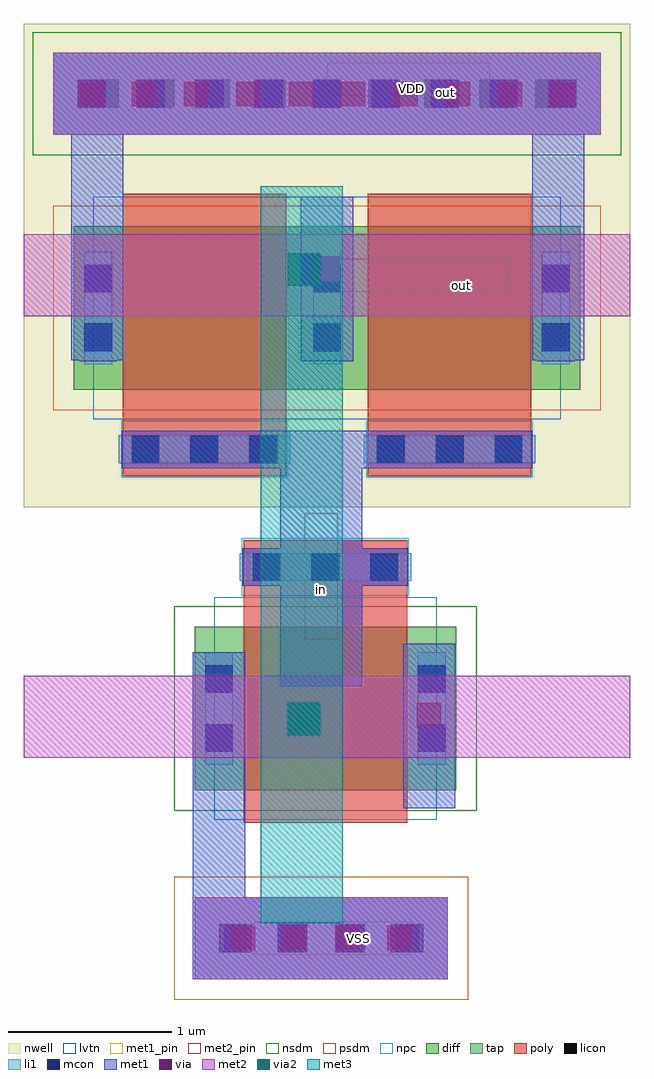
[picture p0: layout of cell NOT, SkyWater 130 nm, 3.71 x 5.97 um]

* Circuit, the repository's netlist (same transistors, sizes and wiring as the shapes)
** sch_path: /foss/designs/BGR_TOP_NSL/BGR_NSL/NOT.sch
.subckt NOT vdd in out vss
*.PININFO vdd:B vss:B in:I out:O
XM6 out in vss vss sky130_fd_pr__nfet_01v8_lvt L=1 W=1 nf=1
XM1 out in vdd vdd sky130_fd_pr__pfet_01v8_lvt L=1 W=2 nf=2
.ends

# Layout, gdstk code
import gdstk
lib = gdstk.Library(unit=1e-6, precision=5e-09)
def R(c, l, rs):  # rectangles x0, y0, x1, y1
    for r in rs: c.add(gdstk.rectangle(r[:2], r[2:], *l))
def A(c, l, x, y, w, h, nx, ny, dx, dy):  # array of equal rectangles
    R(c, l, [(x+i*dx, y+j*dy, x+i*dx+w, y+j*dy+h) for i in range(nx) for j in range(ny)])
nwell = (64, 20)
diff = (65, 20)
tap = (65, 44)
poly = (66, 20)
licon = (66, 44)
li1 = (67, 20)
mcon = (67, 44)
met1_pin = (68, 16)
met1 = (68, 20)
via = (68, 44)
met2_pin = (69, 16)
met2 = (69, 20)
via2 = (69, 44)
met3 = (70, 20)
nsdm = (93, 44)
psdm = (94, 20)
npc = (95, 20)
lvtn = (125, 44)

nfet = lib.new_cell('nfet')
R(nfet, diff, [(0,0,1.6,1)])
R(nfet, poly, [(0.3,-0.2,1.3,1.2), (0.3,1.2,1.3,1.53)])
A(nfet, licon, 0.355, 1.28, 0.17, 0.17, 3, 1, 0.36, 0)
R(nfet, licon, [(0.065,0.235,0.235,0.405), (1.365,0.235,1.535,0.405), (0.065,0.595,0.235,0.765), (1.365,0.595,1.535,0.765)])
R(nfet, li1, [(0.065,0.155,0.235,0.845), (1.365,0.155,1.535,0.845), (0.275,1.28,1.325,1.45)])
A(nfet, mcon, 0.355, 1.28, 0.17, 0.17, 3, 1, 0.36, 0)
R(nfet, mcon, [(0.065,0.235,0.235,0.405), (1.365,0.235,1.535,0.405), (0.065,0.595,0.235,0.765), (1.365,0.595,1.535,0.765)])
R(nfet, met1, [(0.035,0.175,0.265,0.825), (1.335,0.175,1.565,0.825), (0.295,1.25,1.305,1.48)])
R(nfet, nsdm, [(-0.125,-0.125,1.725,1.125)])
R(nfet, npc, [(0.29,1.19,1.31,1.54)])
R(nfet, lvtn, [(0.12,-0.18,1.48,1.18)])

pfet = lib.new_cell('pfet')
R(pfet, nwell, [(-0.305,-0.72,3.405,1.38)])
R(pfet, diff, [(0,0,3.1,1)])
R(pfet, poly, [(0.3,-0.53,1.3,-0.2), (1.8,-0.53,2.8,-0.2), (0.3,-0.2,1.3,1.2), (1.8,-0.2,2.8,1.2)])
A(pfet, licon, 0.355, -0.45, 0.17, 0.17, 3, 1, 0.36, 0)
A(pfet, licon, 1.855, -0.45, 0.17, 0.17, 3, 1, 0.36, 0)
A(pfet, licon, 0.065, 0.235, 0.17, 0.17, 3, 2, 1.4, 0.36)
A(pfet, li1, 0.065, 0.155, 0.17, 0.69, 3, 1, 1.4, 0)
R(pfet, li1, [(0.275,-0.45,1.325,-0.28), (1.775,-0.45,2.825,-0.28)])
A(pfet, mcon, 0.355, -0.45, 0.17, 0.17, 3, 1, 0.36, 0)
A(pfet, mcon, 1.855, -0.45, 0.17, 0.17, 3, 1, 0.36, 0)
A(pfet, mcon, 0.065, 0.235, 0.17, 0.17, 3, 2, 1.4, 0.36)
A(pfet, met1, 0.035, 0.175, 0.23, 0.65, 3, 1, 1.4, 0)
R(pfet, met1, [(0.295,-0.48,1.305,-0.25), (1.795,-0.48,2.805,-0.25)])
R(pfet, psdm, [(-0.125,-0.125,3.225,1.125)])
R(pfet, npc, [(0.29,-0.54,1.31,-0.19), (1.79,-0.54,2.81,-0.19)])
R(pfet, lvtn, [(0.12,-0.18,2.98,1.18)])

vias_gen = lib.new_cell('vias_gen')
R(vias_gen, nwell, [(-0.18,-0.18,3.53,0.68)])
R(vias_gen, tap, [(0,0,3.35,0.5)])
A(vias_gen, licon, 0.23, 0.165, 0.17, 0.17, 9, 1, 0.34, 0)
R(vias_gen, li1, [(0,0,3.35,0.5)])
A(vias_gen, mcon, 0.15, 0.165, 0.17, 0.17, 9, 1, 0.36, 0)
R(vias_gen, met1, [(0,0,3.35,0.5)])
A(vias_gen, via, 0.16, 0.175, 0.15, 0.15, 10, 1, 0.32, 0)
R(vias_gen, met2, [(0,0,3.35,0.5)])
R(vias_gen, nsdm, [(-0.125,-0.125,3.475,0.625)])

vias_gen_7 = lib.new_cell('vias_gen$7')
R(vias_gen_7, tap, [(0,0,1.55,0.5)])
A(vias_gen_7, licon, 0.18, 0.165, 0.17, 0.17, 4, 1, 0.34, 0)
R(vias_gen_7, li1, [(0,0,1.55,0.5)])
A(vias_gen_7, mcon, 0.15, 0.165, 0.17, 0.17, 4, 1, 0.36, 0)
R(vias_gen_7, met1, [(0,0,1.55,0.5)])
A(vias_gen_7, via, 0.22, 0.175, 0.15, 0.15, 4, 1, 0.32, 0)
R(vias_gen_7, met2, [(0,0,1.55,0.5)])
R(vias_gen_7, psdm, [(-0.125,-0.125,1.675,0.625)])

vias_gen_4 = lib.new_cell('vias_gen$4')
R(vias_gen_4, met1, [(0,0,0.32,0.26)])
R(vias_gen_4, via, [(0.085,0.055,0.235,0.205)])
R(vias_gen_4, met2, [(0,0,0.32,0.26)])

vias_gen_6 = lib.new_cell('vias_gen$6')
R(vias_gen_6, met2, [(0,0,0.37,0.33)])
R(vias_gen_6, via2, [(0.085,0.065,0.285,0.265)])
R(vias_gen_6, met3, [(0,0,0.37,0.33)])

not_ = lib.new_cell('NOT')
not_.add(gdstk.FlexPath([(1.195,2.125),(1.195,0.125)], 0.32, ends="flush", simple_path=True, layer=68, datatype=20))  # met1
not_.add(gdstk.FlexPath([(2.48,1.17),(2.48,2.175)], 0.32, ends="flush", simple_path=True, layer=68, datatype=20))  # met1
not_.add(gdstk.FlexPath([(1.855,3.905),(1.855,4.91)], 0.32, ends="flush", simple_path=True, layer=68, datatype=20))  # met1
not_.add(gdstk.FlexPath([(2.105,3.365),(1.45,3.365)], 0.23, ends="flush", simple_path=True, layer=68, datatype=20))  # met1
not_.add(gdstk.FlexPath([(0.45,3.91),(0.45,5.725)], 0.32, ends="flush", simple_path=True, layer=68, datatype=20))  # met1
not_.add(gdstk.FlexPath([(3.27,3.91),(3.27,5.725)], 0.32, ends="flush", simple_path=True, layer=68, datatype=20))  # met1
not_.add(gdstk.FlexPath([(1.82,1.915),(1.82,3.37)], 0.5, ends="flush", simple_path=True, layer=68, datatype=20))  # met1
not_.add(gdstk.FlexPath([(0,1.73),(3.71,1.73)], 0.5, ends="flush", simple_path=True, layer=69, datatype=20))  # met2
not_.add(gdstk.FlexPath([(0,4.43),(3.71,4.43)], 0.5, ends="flush", simple_path=True, layer=69, datatype=20))  # met2
not_.add(gdstk.FlexPath([(1.7,4.975),(1.7,0.465)], 0.5, ends="flush", simple_path=True, layer=70, datatype=20))  # met3
not_.add(gdstk.FlexPath([(1.82,2.975),(1.82,2.205)], 0.2, ends="flush", simple_path=True, layer=68, datatype=16))  # met1_pin
not_.add(gdstk.FlexPath([(2.37,0.375),(1.41,0.375)], 0.2, ends="flush", simple_path=True, layer=69, datatype=16))  # met2_pin
not_.add(gdstk.FlexPath([(2.97,4.43),(1.855,4.43)], 0.2, ends="flush", simple_path=True, layer=69, datatype=16))  # met2_pin
not_.add(gdstk.FlexPath([(2.85,5.63),(1.855,5.63)], 0.2, ends="flush", simple_path=True, layer=69, datatype=16))  # met2_pin
not_.add(gdstk.Reference(nfet, (1.045,1.28)))
not_.add(gdstk.Reference(pfet, (0.305,3.73)))
not_.add(gdstk.Reference(vias_gen, (0.18,5.29)))
not_.add(gdstk.Reference(vias_gen_7, (1.045,0.125)))
not_.add(gdstk.Reference(vias_gen_4, (1.695,4.34)))
not_.add(gdstk.Reference(vias_gen_4, (2.32,1.61)))
not_.add(gdstk.Reference(vias_gen_6, (1.53,4.3)))
not_.add(gdstk.Reference(vias_gen_6, (1.53,1.55)))
not_.add(gdstk.Label('in', (1.82,2.51), layer=68, texttype=16))
not_.add(gdstk.Label('VSS', (2.05,0.375), layer=69, texttype=16))
not_.add(gdstk.Label('out', (2.68,4.37), layer=69, texttype=16))
not_.add(gdstk.Label('out', (2.58,5.545), layer=69, texttype=16))
not_.add(gdstk.Label('VDD', (2.37,5.575), layer=69, texttype=16))

lib.write_gds('NOT.gds')
